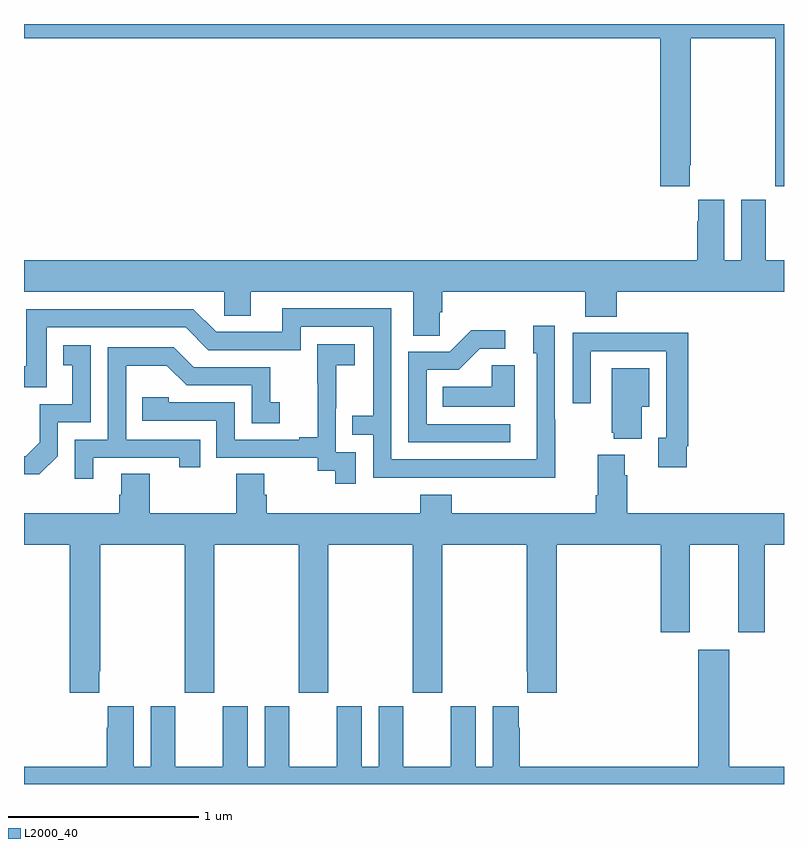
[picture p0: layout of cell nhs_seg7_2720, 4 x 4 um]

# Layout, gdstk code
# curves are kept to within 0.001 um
import gdstk
lib = gdstk.Library(unit=1e-6, precision=1e-09)
def P(c, l, *ps):  # polygons
    for p in ps: c.add(gdstk.Polygon(p, *l))
L2000_40 = (2000, 40)

nhs_seg7_2720 = lib.new_cell('nhs_seg7_2720')
P(nhs_seg7_2720, L2000_40, [(290.503,1025.257),(290.508,1025.257),(290.508,1025.924),(290.953,1025.924),(290.953,1025.145),(291,1025.145),(291,1026),(287,1026),(287,1025.924),(290.348,1025.924),(290.348,1025.145),(290.503,1025.145)],
  [(289.188,1024.483),(289.202,1024.483),(289.202,1024.592),(289.955,1024.592),(289.955,1024.459),(290.12,1024.459),(290.12,1024.592),(291,1024.592),(291,1024.756),(290.905,1024.756),(290.905,1025.074),(290.774,1025.074),(290.774,1024.756),(290.686,1024.756),(290.686,1025.074),(290.549,1025.074),(290.549,1024.961),(290.543,1024.961),(290.543,1024.756),(287,1024.756),(287,1024.592),(288.054,1024.592),(288.054,1024.465),(288.193,1024.465),(288.193,1024.592),(289.049,1024.592),(289.049,1024.36),(289.188,1024.36)],
  [(289.797,1023.917),(289.794,1023.917),(289.794,1024.411),(289.679,1024.411),(289.679,1024.266),(289.698,1024.266),(289.698,1023.708),(288.933,1023.708),(288.933,1024.503),(288.359,1024.503),(288.359,1024.38),(288.012,1024.38),(287.892,1024.5),(287.013,1024.5),(287.013,1024.198),(287,1024.198),(287,1024.089),(287.121,1024.089),(287.121,1024.404),(287.85,1024.404),(287.97,1024.284),(288.456,1024.284),(288.456,1024.407),(288.837,1024.407),(288.837,1023.938),(288.727,1023.938),(288.727,1023.837),(288.837,1023.837),(288.837,1023.612),(289.797,1023.611)],
  [(289.558,1023.894),(289.119,1023.894),(289.119,1024.179),(289.288,1024.179),(289.399,1024.29),(289.534,1024.29),(289.534,1024.388),(289.355,1024.388),(289.242,1024.275),(289.023,1024.275),(289.023,1023.798),(289.558,1023.798)],
  [(290.488,1023.778),(290.495,1023.778),(290.495,1024.376),(290.203,1024.376),(290.203,1024.374),(289.887,1024.374),(289.887,1024.005),(289.983,1024.005),(289.983,1024.278),(290.379,1024.278),(290.379,1023.822),(290.339,1023.822),(290.339,1023.666),(290.488,1023.666)],
  [(288.747,1023.747),(288.642,1023.747),(288.642,1023.977),(288.644,1023.977),(288.644,1024.205),(288.742,1024.205),(288.742,1024.315),(288.544,1024.315),(288.544,1024.109),(288.545,1024.109),(288.545,1023.826),(288.449,1023.826),(288.449,1023.813),(288.108,1023.813),(288.108,1024.008),(287.763,1024.008),(287.763,1024.035),(287.623,1024.035),(287.623,1023.912),(288.012,1023.912),(288.012,1023.717),(288.546,1023.717),(288.546,1023.649),(288.639,1023.649),(288.639,1023.579),(288.747,1023.579)],
  [(287.178,1023.726),(287.178,1023.903),(287.352,1023.903),(287.352,1024.309),(287.206,1024.309),(287.206,1024.203),(287.255,1024.203),(287.255,1023.999),(287.082,1023.999),(287.082,1023.798),(287.01,1023.726),(287,1023.726),(287,1023.629),(287.08,1023.629)],
  [(287.365,1023.717),(287.816,1023.717),(287.816,1023.666),(287.927,1023.666),(287.927,1023.813),(287.538,1023.813),(287.538,1024.202),(287.752,1024.202),(287.856,1024.098),(288.198,1024.098),(288.198,1023.9),(288.346,1023.9),(288.346,1024.009),(288.297,1024.009),(288.297,1024.194),(287.893,1024.194),(287.788,1024.299),(287.442,1024.299),(287.442,1023.813),(287.268,1023.813),(287.268,1023.606),(287.365,1023.606)],
  [(289.582,1024.205),(289.461,1024.205),(289.461,1024.09),(289.204,1024.09),(289.204,1023.986),(289.582,1023.986)],
  [(290.251,1023.986),(290.29,1023.986),(290.29,1024.189),(290.093,1024.189),(290.093,1023.849),(290.105,1023.849),(290.105,1023.818),(290.251,1023.818)],
  [(287.395,1022.593),(287.4,1022.593),(287.4,1023.26),(287.845,1023.26),(287.845,1022.481),(288,1022.481),(288,1023.26),(288.445,1023.26),(288.445,1022.481),(288.6,1022.481),(288.6,1023.26),(289.045,1023.26),(289.045,1022.481),(289.2,1022.481),(289.2,1023.26),(289.645,1023.26),(289.645,1022.593),(289.649,1022.593),(289.649,1022.481),(289.805,1022.481),(289.805,1023.26),(290.351,1023.26),(290.351,1022.799),(290.503,1022.799),(290.503,1023.26),(290.759,1023.26),(290.759,1022.799),(290.899,1022.799),(290.899,1023.26),(291,1023.26),(291,1023.424),(290.174,1023.424),(290.174,1023.626),(290.161,1023.626),(290.161,1023.733),(290.021,1023.733),(290.021,1023.52),(290.009,1023.52),(290.009,1023.424),(289.25,1023.424),(289.25,1023.523),(289.085,1023.523),(289.085,1023.424),(288.278,1023.424),(288.278,1023.522),(288.265,1023.522),(288.265,1023.632),(288.118,1023.632),(288.118,1023.424),(287.661,1023.424),(287.661,1023.632),(287.513,1023.632),(287.513,1023.522),(287.501,1023.522),(287.501,1023.424),(287,1023.424),(287,1023.26),(287.24,1023.26),(287.24,1022.481),(287.395,1022.481)],
  [(291,1022.092),(290.713,1022.092),(290.713,1022.707),(290.549,1022.707),(290.549,1022.092),(289.61,1022.092),(289.61,1022.297),(289.603,1022.297),(289.603,1022.41),(289.466,1022.41),(289.466,1022.092),(289.378,1022.092),(289.378,1022.41),(289.247,1022.41),(289.247,1022.092),(288.997,1022.092),(288.997,1022.41),(288.866,1022.41),(288.866,1022.092),(288.778,1022.092),(288.778,1022.41),(288.647,1022.41),(288.647,1022.092),(288.397,1022.092),(288.397,1022.41),(288.266,1022.41),(288.266,1022.092),(288.178,1022.092),(288.178,1022.41),(288.047,1022.41),(288.047,1022.092),(287.797,1022.092),(287.797,1022.41),(287.666,1022.41),(287.666,1022.092),(287.578,1022.092),(287.578,1022.41),(287.441,1022.41),(287.441,1022.297),(287.435,1022.297),(287.435,1022.092),(287,1022.092),(287,1022),(291,1022)])

lib.write_gds('nhs_seg7_2720.gds')
